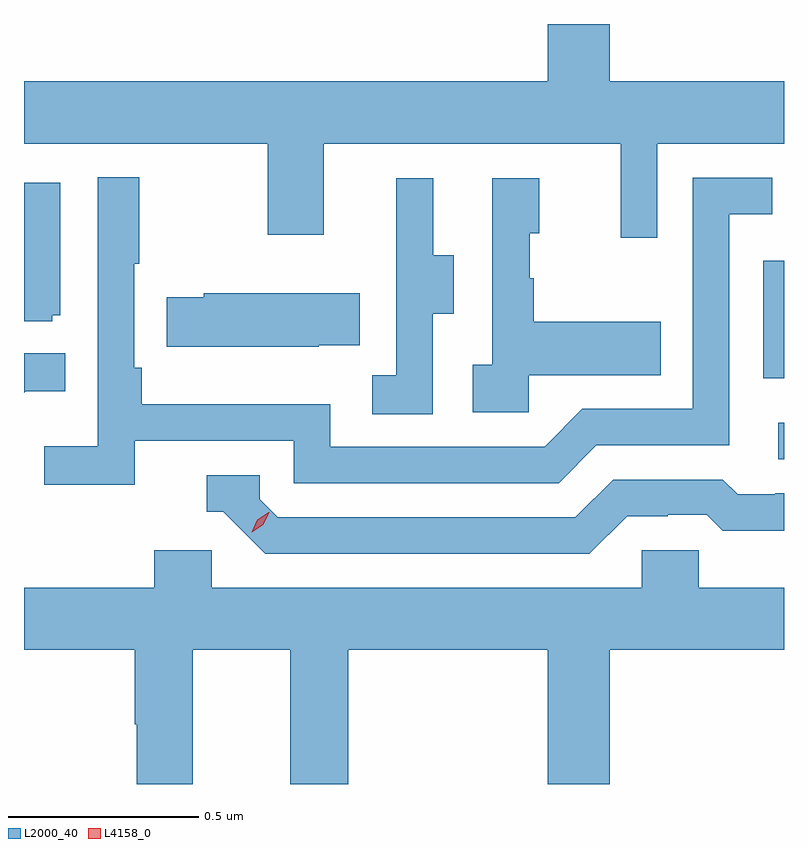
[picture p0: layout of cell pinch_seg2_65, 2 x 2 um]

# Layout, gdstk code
import gdstk
lib = gdstk.Library(unit=1e-6, precision=1e-09)
def R(c, l, rs):  # rectangles x0, y0, x1, y1
    for r in rs: c.add(gdstk.rectangle(r[:2], r[2:], *l))
def P(c, l, *ps):  # polygons
    for p in ps: c.add(gdstk.Polygon(p, *l))
L2000_40 = (2000, 40)
L4158_0 = (4158, 0)

pinch_seg2_65 = lib.new_cell('pinch_seg2_65')
R(pinch_seg2_65, L2000_40, [(1040.739,661.458,1040.754,661.554), (1040.7,661.671,1040.754,661.98)])
P(pinch_seg2_65, L2000_40, [(1040.421,662.288),(1040.754,662.288),(1040.754,662.452),(1040.296,662.452),(1040.296,662.603),(1040.132,662.603),(1040.132,662.452),(1038.754,662.452),(1038.754,662.288),(1039.396,662.288),(1039.396,662.049),(1039.543,662.049),(1039.543,662.288),(1040.324,662.288),(1040.324,662.04),(1040.421,662.04)],
  [(1039.046,661.506),(1039.464,661.506),(1039.464,661.395),(1040.161,661.395),(1040.26,661.494),(1040.61,661.494),(1040.61,662.103),(1040.723,662.103),(1040.723,662.199),(1040.514,662.199),(1040.514,661.59),(1040.223,661.59),(1040.124,661.491),(1039.56,661.491),(1039.56,661.603),(1039.064,661.603),(1039.064,661.699),(1039.044,661.699),(1039.044,661.972),(1039.057,661.972),(1039.057,662.2),(1038.948,662.2),(1038.948,661.492),(1038.807,661.492),(1038.807,661.39),(1039.046,661.39)],
  [(1039.83,661.84),(1039.885,661.84),(1039.885,661.995),(1039.831,661.995),(1039.831,662.197),(1039.733,662.197),(1039.733,661.983),(1039.734,661.983),(1039.734,661.679),(1039.671,661.679),(1039.671,661.576),(1039.83,661.576)],
  [(1040.082,661.679),(1040.429,661.679),(1040.429,661.819),(1040.095,661.819),(1040.095,661.934),(1040.085,661.934),(1040.085,662.052),(1040.11,662.052),(1040.11,662.197),(1039.986,662.197),(1039.986,661.706),(1039.935,661.706),(1039.935,661.581),(1040.082,661.581)],
  [(1038.828,661.836),(1038.85,661.836),(1038.85,662.185),(1038.754,662.185),(1038.754,661.821),(1038.828,661.821)],
  [(1039.529,661.757),(1039.637,661.757),(1039.637,661.894),(1039.227,661.894),(1039.227,661.884),(1039.129,661.884),(1039.129,661.754),(1039.529,661.754)],
  [(1038.759,661.637),(1038.863,661.637),(1038.863,661.736),(1038.754,661.736),(1038.754,661.632)],
  [(1040.341,661.308),(1040.448,661.308),(1040.448,661.311),(1040.551,661.311),(1040.593,661.269),(1040.754,661.269),(1040.754,661.368),(1040.731,661.368),(1040.731,661.365),(1040.632,661.365),(1040.593,661.404),(1040.304,661.404),(1040.205,661.305),(1039.422,661.305),(1039.374,661.353),(1039.374,661.416),(1039.235,661.416),(1039.235,661.32),(1039.278,661.32),(1039.389,661.209),(1040.242,661.209)],
  [(1039.198,660.956),(1039.454,660.956),(1039.454,660.603),(1039.607,660.603),(1039.607,660.956),(1040.132,660.956),(1040.132,660.603),(1040.296,660.603),(1040.296,660.956),(1040.754,660.956),(1040.754,661.12),(1040.529,661.12),(1040.529,661.218),(1040.379,661.218),(1040.379,661.12),(1039.248,661.12),(1039.248,661.218),(1039.097,661.218),(1039.097,661.12),(1038.754,661.12),(1038.754,660.956),(1039.046,660.956),(1039.046,660.76),(1039.051,660.76),(1039.051,660.603),(1039.198,660.603)])
P(pinch_seg2_65, L4158_0, [(1039.353,661.265),(1039.353,661.266),(1039.368,661.298),(1039.398,661.318),(1039.399,661.318),(1039.399,661.318),(1039.384,661.285),(1039.353,661.265)])

lib.write_gds('pinch_seg2_65.gds')
